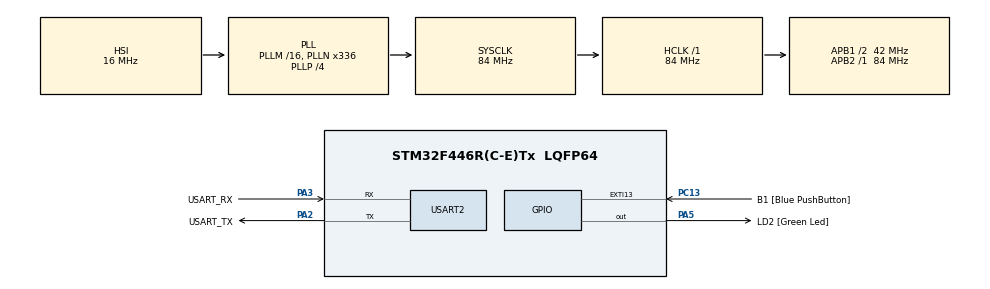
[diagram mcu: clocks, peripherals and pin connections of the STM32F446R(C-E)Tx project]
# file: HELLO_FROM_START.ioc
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FREERTOS.INCLUDE_vTaskDelayUntil=1
FREERTOS.Tasks01=Task1_Low,-2,256,StartDefaultTask,Default,NULL,Static,defaultTaskBuffer,defaultTaskControlBlock;Task2_Normal,0,256,StartTask02,Default,NULL,Static,Task2_NormalBuffer,Task2_NormalControlBlock;Task3_High,2,256,StartTask03,Default,NULL,Static,Task3_HighBuffer,Task3_HighControlBlock
FREERTOS.configCHECK_FOR_STACK_OVERFLOW=2
FREERTOS.configUSE_COUNTING_SEMAPHORES=0
FREERTOS.configUSE_IDLE_HOOK=1
FREERTOS.configUSE_PREEMPTION=1
FREERTOS.configUSE_TRACE_FACILITY=1
Mcu.Family=STM32F4
Mcu.Name=STM32F446R(C-E)Tx
Mcu.Package=LQFP64
NVIC.PriorityGroup=NVIC_PRIORITYGROUP_4
NVIC.TIM6_DAC_IRQn=true\:0\:0\:false\:false\:true\:false\:false\:true
NVIC.TimeBase=TIM6_DAC_IRQn
NVIC.TimeBaseIP=TIM6
PA13.GPIO_Label=TMS
PA13.Mode=Serial_Wire
PA13.Signal=SYS_JTMS-SWDIO
PA14.GPIO_Label=TCK
PA14.Mode=Serial_Wire
PA14.Signal=SYS_JTCK-SWCLK
PA2.GPIO_Label=USART_TX
PA2.Mode=Asynchronous
PA2.Signal=USART2_TX
PA3.GPIO_Label=USART_RX
PA3.Mode=Asynchronous
PA3.Signal=USART2_RX
PA5.GPIO_Label=LD2 [Green Led]
PA5.Signal=GPIO_Output
PB3.GPIO_Label=SWO
PB3.Signal=SYS_JTDO-SWO
PC13.GPIO_Label=B1 [Blue PushButton]
PC13.GPIO_ModeDefaultEXTI=GPIO_MODE_IT_FALLING
PC13.Signal=GPXTI13
PC14-OSC32_IN.Mode=LSE-External-Oscillator
PC14-OSC32_IN.Signal=RCC_OSC32_IN
PC15-OSC32_OUT.Mode=LSE-External-Oscillator
PC15-OSC32_OUT.Signal=RCC_OSC32_OUT
PH0-OSC_IN.Mode=HSE-External-Oscillator
PH0-OSC_IN.Signal=RCC_OSC_IN
PH1-OSC_OUT.Mode=HSE-External-Oscillator
PH1-OSC_OUT.Signal=RCC_OSC_OUT
ProjectManager.HeapSize=0x200
ProjectManager.StackSize=0x400
ProjectManager.TargetToolchain=STM32CubeIDE
RCC.48MHZClocksFreq_Value=84000000
RCC.AHBFreq_Value=84000000
RCC.APB1CLKDivider=RCC_HCLK_DIV2
RCC.APB1Freq_Value=42000000
RCC.APB1TimFreq_Value=84000000
RCC.APB2Freq_Value=84000000
RCC.APB2TimFreq_Value=84000000
RCC.CortexFreq_Value=84000000
RCC.FLatency-AdvancedSettings=FLASH_LATENCY_2
RCC.HCLKFreq_Value=84000000
RCC.HSE_VALUE=8000000
RCC.HSI_VALUE=16000000
RCC.PLLN=336
RCC.PLLP=RCC_PLLP_DIV4
RCC.SYSCLKFreq_VALUE=84000000
RCC.SYSCLKSource=RCC_SYSCLKSOURCE_PLLCLK
RCC.USBFreq_Value=168000000
RCC.VCOOutputFreq_Value=336000000
USART2.VirtualMode=VM_ASYNC
VP_FREERTOS_VS_CMSIS_V1.Mode=CMSIS_V1
VP_SYS_VS_tim6.Mode=TIM6
board=NUCLEO-F446RE

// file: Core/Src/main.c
/* USER CODE BEGIN Header */
/**
  ******************************************************************************
  * @file           : main.c
  * @brief          : Main program body
  ******************************************************************************
  * @attention
  *
  * <h2><center>&copy; Copyright (c) 2021 STMicroelectronics.
  * All rights reserved.</center></h2>
  *
  * This software component is licensed by ST under BSD 3-Clause license,
  * the "License"; You may not use this file except in compliance with the
  * License. You may obtain a copy of the License at:
  *                        opensource.org/licenses/BSD-3-Clause
  *
  ******************************************************************************
  */
/* USER CODE END Header */
#include "main.h"
#include "cmsis_os.h"

/* USER CODE BEGIN Includes */
#include <stdio.h>
#include <stdlib.h>
/* USER CODE END Includes */

UART_HandleTypeDef huart2;

osThreadId Task1_LowHandle;
uint32_t defaultTaskBuffer[ 256 ];
osStaticThreadDef_t defaultTaskControlBlock;
osThreadId Task2_NormalHandle;
uint32_t Task2_NormalBuffer[ 256 ];
osStaticThreadDef_t Task2_NormalControlBlock;
osThreadId Task3_HighHandle;
uint32_t Task3_HighBuffer[ 256 ];
osStaticThreadDef_t Task3_HighControlBlock;
/* USER CODE BEGIN PV */
osSemaphoreDef(SEM_PRINT);
osSemaphoreId(SEM_PRINT_ID);
/* USER CODE END PV */

void SystemClock_Config(void);
static void MX_GPIO_Init(void);
static void MX_USART2_UART_Init(void);
void StartDefaultTask(void const * argument);
void StartTask02(void const * argument);
void StartTask03(void const * argument);

/* USER CODE BEGIN 0 */
int __io_putchar(int ch)
{
	return HAL_UART_Transmit(&huart2, (uint8_t *)&ch, 1, 1000);
}

/*int __io_putchar(int ch)
{
	while(())
	return HAL_UART_Transmit(&huart2, (uint8_t *)&ch, 1, 1000);
}*/

uint16_t cnt = 0;
/* USER CODE END 0 */

int main(void)
{

  /* MCU Configuration--------------------------------------------------------*/

  /* Reset of all peripherals, Initializes the Flash interface and the Systick. */
  HAL_Init();

  /* Configure the system clock */
  SystemClock_Config();

  /* Initialize all configured peripherals */
  MX_GPIO_Init();
  MX_USART2_UART_Init();

  /* USER CODE BEGIN RTOS_SEMAPHORES */
  /* add semaphores, ... */
  SEM_PRINT_ID = osSemaphoreCreate(osSemaphore(SEM_PRINT),1);
  /* USER CODE END RTOS_SEMAPHORES */

  /* USER CODE BEGIN RTOS_QUEUES */
  /* add queues, ... */
  vTraceEnable(TRC_START);
  /* USER CODE END RTOS_QUEUES */

  /* Create the thread(s) */
  /* definition and creation of Task1_Low */
  osThreadStaticDef(Task1_Low, StartDefaultTask, osPriorityLow, 0, 256, defaultTaskBuffer, &defaultTaskControlBlock);
  Task1_LowHandle = osThreadCreate(osThread(Task1_Low), NULL);

  /* definition and creation of Task2_Normal */
  osThreadStaticDef(Task2_Normal, StartTask02, osPriorityNormal, 0, 256, Task2_NormalBuffer, &Task2_NormalControlBlock);
  Task2_NormalHandle = osThreadCreate(osThread(Task2_Normal), NULL);

  /* definition and creation of Task3_High */
  osThreadStaticDef(Task3_High, StartTask03, osPriorityHigh, 0, 256, Task3_HighBuffer, &Task3_HighControlBlock);
  Task3_HighHandle = osThreadCreate(osThread(Task3_High), NULL);

  /* Start scheduler */
  osKernelStart();

  /* We should never get here as control is now taken by the scheduler */
  /* Infinite loop */
  while (1)
  {

  }
}

void SystemClock_Config(void)
{
  RCC_OscInitTypeDef RCC_OscInitStruct = {0};
  RCC_ClkInitTypeDef RCC_ClkInitStruct = {0};

  /** Configure the main internal regulator output voltage
  */
  __HAL_RCC_PWR_CLK_ENABLE();
  __HAL_PWR_VOLTAGESCALING_CONFIG(PWR_REGULATOR_VOLTAGE_SCALE3);
  /** Initializes the RCC Oscillators according to the specified parameters
  * in the RCC_OscInitTypeDef structure.
  */
  RCC_OscInitStruct.OscillatorType = RCC_OSCILLATORTYPE_HSI;
  RCC_OscInitStruct.HSIState = RCC_HSI_ON;
  RCC_OscInitStruct.HSICalibrationValue = RCC_HSICALIBRATION_DEFAULT;
  RCC_OscInitStruct.PLL.PLLState = RCC_PLL_ON;
  RCC_OscInitStruct.PLL.PLLSource = RCC_PLLSOURCE_HSI;
  RCC_OscInitStruct.PLL.PLLM = 16;
  RCC_OscInitStruct.PLL.PLLN = 336;
  RCC_OscInitStruct.PLL.PLLP = RCC_PLLP_DIV4;
  RCC_OscInitStruct.PLL.PLLQ = 2;
  RCC_OscInitStruct.PLL.PLLR = 2;
  if (HAL_RCC_OscConfig(&RCC_OscInitStruct) != HAL_OK)
  {
    Error_Handler();
  }
  /** Initializes the CPU, AHB and APB buses clocks
  */
  RCC_ClkInitStruct.ClockType = RCC_CLOCKTYPE_HCLK|RCC_CLOCKTYPE_SYSCLK
                              |RCC_CLOCKTYPE_PCLK1|RCC_CLOCKTYPE_PCLK2;
  RCC_ClkInitStruct.SYSCLKSource = RCC_SYSCLKSOURCE_PLLCLK;
  RCC_ClkInitStruct.AHBCLKDivider = RCC_SYSCLK_DIV1;
  RCC_ClkInitStruct.APB1CLKDivider = RCC_HCLK_DIV2;
  RCC_ClkInitStruct.APB2CLKDivider = RCC_HCLK_DIV1;

  if (HAL_RCC_ClockConfig(&RCC_ClkInitStruct, FLASH_LATENCY_2) != HAL_OK)
  {
    Error_Handler();
  }
}

static void MX_USART2_UART_Init(void)
{

  huart2.Instance = USART2;
  huart2.Init.BaudRate = 115200;
  huart2.Init.WordLength = UART_WORDLENGTH_8B;
  huart2.Init.StopBits = UART_STOPBITS_1;
  huart2.Init.Parity = UART_PARITY_NONE;
  huart2.Init.Mode = UART_MODE_TX_RX;
  huart2.Init.HwFlowCtl = UART_HWCONTROL_NONE;
  huart2.Init.OverSampling = UART_OVERSAMPLING_16;
  if (HAL_UART_Init(&huart2) != HAL_OK)
  {
    Error_Handler();
  }

}

static void MX_GPIO_Init(void)
{
  GPIO_InitTypeDef GPIO_InitStruct = {0};

  /* GPIO Ports Clock Enable */
  __HAL_RCC_GPIOC_CLK_ENABLE();
  __HAL_RCC_GPIOH_CLK_ENABLE();
  __HAL_RCC_GPIOA_CLK_ENABLE();
  __HAL_RCC_GPIOB_CLK_ENABLE();

  /*Configure GPIO pin Output Level */
  HAL_GPIO_WritePin(LD2_GPIO_Port, LD2_Pin, GPIO_PIN_RESET);

  /*Configure GPIO pin : B1_Pin */
  GPIO_InitStruct.Pin = B1_Pin;
  GPIO_InitStruct.Mode = GPIO_MODE_IT_FALLING;
  GPIO_InitStruct.Pull = GPIO_NOPULL;
  HAL_GPIO_Init(B1_GPIO_Port, &GPIO_InitStruct);

  /*Configure GPIO pin : LD2_Pin */
  GPIO_InitStruct.Pin = LD2_Pin;
  GPIO_InitStruct.Mode = GPIO_MODE_OUTPUT_PP;
  GPIO_InitStruct.Pull = GPIO_NOPULL;
  GPIO_InitStruct.Speed = GPIO_SPEED_FREQ_LOW;
  HAL_GPIO_Init(LD2_GPIO_Port, &GPIO_InitStruct);

}

/* USER CODE BEGIN 4 */
void vApplicationStackOverflowHook(xTaskHandle xTask, signed char *pcTaskName)
{
  printf("This task oveflowed : %s\r\n", (char*)pcTaskName);
}

void growStack()
{
	printf("Growing stack - %u !\r\n",++cnt);
	osDelay(1);
	return growStack();
}
/* USER CODE END 4 */

void StartDefaultTask(void const * argument)
{
  /* USER CODE BEGIN 5 */
	//traceString myString = xTraceRegisterString("UART2");

  /* Infinite loop */
	traceString myTrace = xTraceRegisterString("Task start");

	//uint32_t u32startTime = 0, u32stopTime = 0;
	for(;;)
	{
		osSemaphoreWait(SEM_PRINT_ID,osWaitForever);
		printf("Task1 Normal RUNNING\r\n");
		osSemaphoreRelease(SEM_PRINT_ID);
	    osDelay(20);
	}
  /* USER CODE END 5 */
}

void StartTask02(void const * argument)
{
  /* USER CODE BEGIN StartTask02 */
  /* Infinite loop */
  for(;;)
  {
	osSemaphoreWait(SEM_PRINT_ID,osWaitForever);
	printf("Task2 Normal RUNNING\r\n");
	osSemaphoreRelease(SEM_PRINT_ID);
    osDelay(20);

  }
  /* USER CODE END StartTask02 */
}

void StartTask03(void const * argument)
{
  /* USER CODE BEGIN StartTask03 */
  /* Infinite loop */
  for(;;)
  {
	osSemaphoreWait(SEM_PRINT_ID,osWaitForever);
	printf("Task3 High RUNNING\r\n");
	osSemaphoreRelease(SEM_PRINT_ID);
	osDelay(1);
  }
  /* USER CODE END StartTask03 */
}

void HAL_TIM_PeriodElapsedCallback(TIM_HandleTypeDef *htim)
{
  if (htim->Instance == TIM6) {
    HAL_IncTick();
  }
}

void Error_Handler(void)
{
}

/************************ (C) COPYRIGHT STMicroelectronics *****END OF FILE****/

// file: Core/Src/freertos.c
/* USER CODE BEGIN Header */
/**
  ******************************************************************************
  * File Name          : freertos.c
  * Description        : Code for freertos applications
  ******************************************************************************
  * @attention
  *
  * <h2><center>&copy; Copyright (c) 2021 STMicroelectronics.
  * All rights reserved.</center></h2>
  *
  * This software component is licensed by ST under Ultimate Liberty license
  * SLA0044, the "License"; You may not use this file except in compliance with
  * the License. You may obtain a copy of the License at:
  *                             www.st.com/SLA0044
  *
  ******************************************************************************
  */
/* USER CODE END Header */

#include "FreeRTOS.h"
#include "task.h"
#include "main.h"

/* GetIdleTaskMemory prototype (linked to static allocation support) */
void vApplicationGetIdleTaskMemory( StaticTask_t **ppxIdleTaskTCBBuffer, StackType_t **ppxIdleTaskStackBuffer, uint32_t *pulIdleTaskStackSize );

/* Hook prototypes */
void vApplicationIdleHook(void);
void vApplicationStackOverflowHook(xTaskHandle xTask, signed char *pcTaskName);

/* USER CODE BEGIN 2 */
__weak void vApplicationIdleHook( void )
{
   /* vApplicationIdleHook() will only be called if configUSE_IDLE_HOOK is set
   to 1 in FreeRTOSConfig.h. It will be called on each iteration of the idle
   task. It is essential that code added to this hook function never attempts
   to block in any way (for example, call xQueueReceive() with a block time
   specified, or call vTaskDelay()). If the application makes use of the
   vTaskDelete() API function (as this demo application does) then it is also
   important that vApplicationIdleHook() is permitted to return to its calling
   function, because it is the responsibility of the idle task to clean up
   memory allocated by the kernel to any task that has since been deleted. */
}
/* USER CODE END 2 */

/* USER CODE BEGIN 4 */
__weak void vApplicationStackOverflowHook(xTaskHandle xTask, signed char *pcTaskName)
{
   /* Run time stack overflow checking is performed if
   configCHECK_FOR_STACK_OVERFLOW is defined to 1 or 2. This hook function is
   called if a stack overflow is detected. */
}
/* USER CODE END 4 */

/* USER CODE BEGIN GET_IDLE_TASK_MEMORY */
static StaticTask_t xIdleTaskTCBBuffer;
static StackType_t xIdleStack[configMINIMAL_STACK_SIZE];

void vApplicationGetIdleTaskMemory( StaticTask_t **ppxIdleTaskTCBBuffer, StackType_t **ppxIdleTaskStackBuffer, uint32_t *pulIdleTaskStackSize )
{
  *ppxIdleTaskTCBBuffer = &xIdleTaskTCBBuffer;
  *ppxIdleTaskStackBuffer = &xIdleStack[0];
  *pulIdleTaskStackSize = configMINIMAL_STACK_SIZE;
  /* place for user code */
}
/* USER CODE END GET_IDLE_TASK_MEMORY */

/************************ (C) COPYRIGHT STMicroelectronics *****END OF FILE****/
